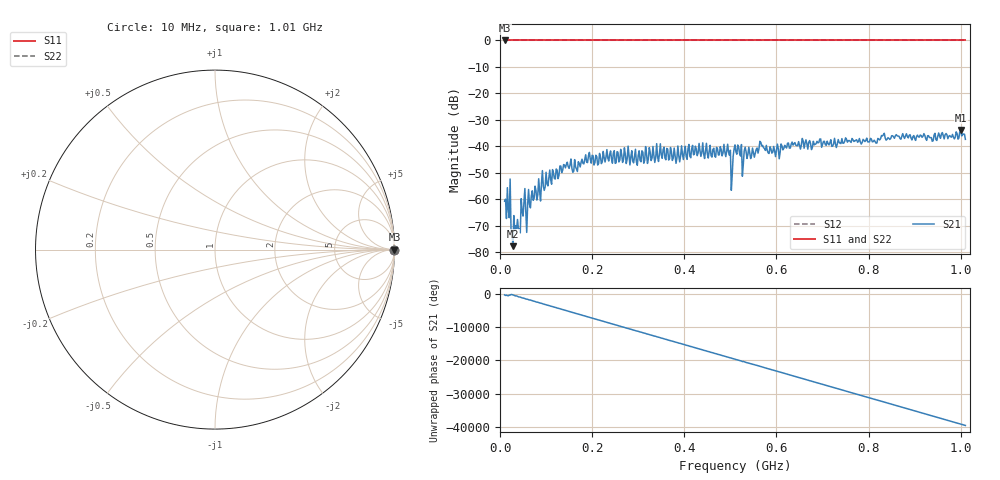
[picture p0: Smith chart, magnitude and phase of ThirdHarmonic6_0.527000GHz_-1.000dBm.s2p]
! 8/15/2025 4:20:48 PM
! C:\ANRITSUVNA\TEMP\TEMP.S2P
! CHANNEL.1
! TR.MEASUREMENT
! RAW.DATA
! RF.CORRECTION.OFF
! AVERAGING.OFF
! IF.BANDWIDTH: 5KHZ
! SWEEPTYPE:  FREQ.SWEEP(Linear)
! Reference Plane Port Info
! PORT:  PORT1  PORT2
! DISTANCE:  0  m  0  m
! TIME:  0  s  0  s
! PHASE.OFFSET:  0  deg.  0  deg.
! LOSS:  0  dB  0  dB
! REF.LOSS:  0  dB  0  dB
! REF.FREQ:  0  Hz  0  Hz
! Power Info
! POWER:  -20  dBm  -20  dBm
! EFF.POWER:  -20  dBm  -20  dBm
! SOURCE.ATTEN:  0  dB  0  dB
! TEST.ATTEN:  0  dB  0  dB
# GHZ S RI R 50.0
! FREQ.GHZ  S11RE  S11IM  S21RE  S21IM  S12RE  S12IM  S22RE  S22IM
!; PortSelection: Port_12
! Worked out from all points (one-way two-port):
!   501 points, 10 MHz to 1.01 GHz, reference 50 ohm
!   highest |S21| = -33.74 dB at 1 GHz (marker M1); lowest = -77.6 dB at 28 MHz (marker M2)
!   lowest |S11| = 0.0 dB at 10 MHz (marker M3)
!   |S11| at or under -10 dB: nowhere
!   |S22| runs from 0.0 to 0.0 dB; largest |S21 - S12| = 1
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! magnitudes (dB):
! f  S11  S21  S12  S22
! 10 MHz  0.0  -60.6  0.0  0.0
! 20 MHz  0.0  -66.9  0.0  0.0
! 28 MHz  0.0  -77.6  0.0  0.0
! 40 MHz  0.0  -71.0  0.0  0.0
! 50 MHz  0.0  -66.3  0.0  0.0
! 62 MHz  0.0  -56.2  0.0  0.0
! 66 MHz  0.0  -63.2  0.0  0.0
! 96 MHz  0.0  -56.6  0.0  0.0
! 178 MHz  0.0  -44.8  0.0  0.0
! 344 MHz  0.0  -45.7  0.0  0.0
! 490 MHz  0.0  -43.8  0.0  0.0
! 496 MHz  0.0  -42.1  0.0  0.0
! 502 MHz  0.0  -56.5  0.0  0.0
! 510 MHz  0.0  -39.4  0.0  0.0
! 520 MHz  0.0  -42.7  0.0  0.0
! 524 MHz  0.0  -39.3  0.0  0.0
! 566 MHz  0.0  -38.5  0.0  0.0
! 594 MHz  0.0  -40.0  0.0  0.0
! 678 MHz  0.0  -40.3  0.0  0.0
! 844 MHz  0.0  -36.9  0.0  0.0
! 1 GHz  0.0  -33.7  0.0  0.0
! 1.01 GHz  0.0  -37.3  0.0  0.0
